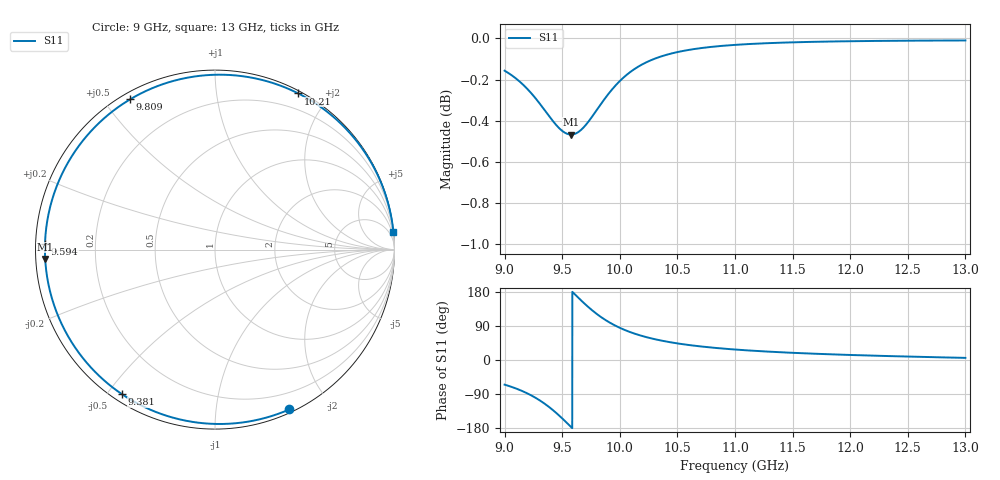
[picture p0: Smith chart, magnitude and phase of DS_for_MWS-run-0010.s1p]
! TOUCHSTONE file generated by CST DESIGN STUDIO
! Date and time: Tue Feb  4 17:56:39 2025
! Project name: C:\Work\MatlabApps\UnitCellOptimizationMatlab\CST\unitcell.cst
! Tree item: Tasks\Sweep1\SPara1\S-Parameters
! Header version: 2024
! Port assignment regex: !\s*Touchstone port\s*([0-9]+)\s*=\s*(CST MWS port|CST DES external port|CST DES block port)\s*(.+)\s* \(\"(.*)\"\)(\s*mode\s*([0-9]+))?.*
! Touchstone port assignment:
! Touchstone port 1 = CST DES external port 1 ("")
# GHz S MA R 50
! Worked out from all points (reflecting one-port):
!   4001 points, 9 GHz to 13 GHz, reference 50 ohm
!   lowest |S11| = -0.5 dB at 9.577 GHz (marker M1), VSWR 37.17, Z = 1.35 - j1.38 ohm
!   phase of S11 starts at -65 deg and turns -289 deg over the sweep
!   S11 on the Smith chart (normalised r, x): 9 GHz: 0.03, -1.57; 9.381 GHz: 0.03, -0.54; 9.594 GHz: 0.03, +0.02; 9.809 GHz: 0.03, +0.58; 10.21 GHz: 0.03, +1.67; 13 GHz: 0, +20
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9  0.9821 -65.0
9.046  0.9802 -69.4
9.114  0.977 -77.0
9.231  0.9698 -93.4
9.311  0.9637 -107.8
9.381  0.9579 -122.9
9.44  0.9532 -137.5
9.5  0.9495 -154.1
9.539  0.9481 -165.4
9.577  0.9476 -176.8
9.594  0.9477 178.1
9.649  0.9493 161.6
9.71  0.9531 144.3
9.759  0.9571 131.4
9.809  0.9615 119.5
9.851  0.9652 110.4
9.896  0.969 101.7
10  0.9764 84.9
10.101  0.9818 72.4
10.211  0.9861 61.9
10.344  0.9896 52.3
10.5  0.9924 43.8
10.72  0.9947 35.2
11  0.9964 27.6
11.5  0.9978 19.0
12  0.9984 13.3
12.5  0.9987 9.1
13  0.9988 5.6
